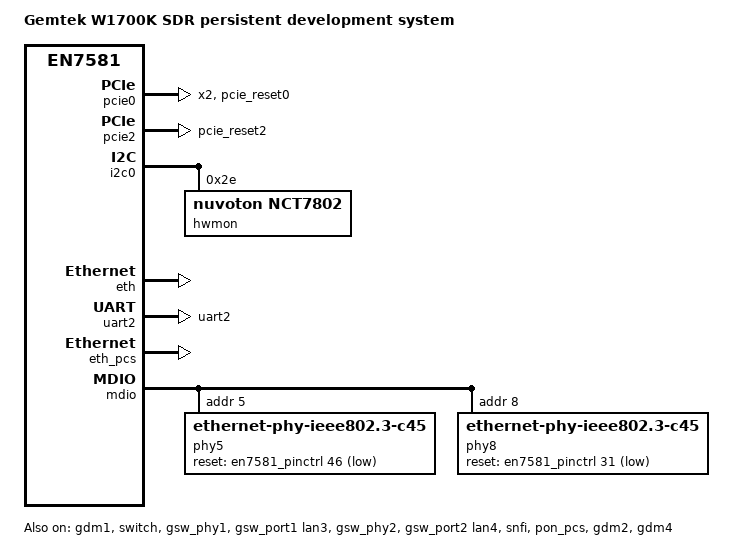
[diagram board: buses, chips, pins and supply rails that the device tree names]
// SPDX-License-Identifier: GPL-2.0-or-later OR MIT
/dts-v1/;

#include <dt-bindings/gpio/gpio.h>
#include <dt-bindings/phy/phy.h>
#include "an7581.dtsi"

/delete-node/ &sound;
/delete-node/ &afe;
/* A fixed clock is not an MMIO child of the SoC bus; it moves to the root below. */
/delete-node/ &i2cclock;

/* Board wiring from OpenWrt's an7581-w1700k-ubi.dts, without its Wi-Fi
 * offload. The two 10 GbE ports carry the IQ export.
 */
/ {
	model = "Gemtek W1700K SDR persistent development system";
	compatible = "gemtek,w1700k-sdr", "airoha,an7581", "airoha,en7581";

	aliases {
		serial0 = &uart1;
		ethernet0 = &gdm1;
	};

	chosen {
		bootargs = "console=ttyS0,115200 earlycon panic=5 ro rdinit=/init ubi.mtd=system ubi.block=0,rootfs";
		stdout-path = "serial0:115200n8";
	};

	i2cclock: clock-i2c {
		compatible = "fixed-clock";
		#clock-cells = <0>;
		clock-frequency = <20000000>;
	};

	/* The bootloader supplies detected DRAM and initrd addresses. */
};

&en7581_pinctrl {
	gpio-ranges = <&en7581_pinctrl 0 13 50>;

	uart2_pins: uart2-pins {
		mux {
			function = "uart";
			groups = "uart2";
		};
	};

	mdio_pins: mdio-pins {
		mux {
			function = "mdio";
			groups = "mdio";
		};
		conf {
			pins = "gpio2";
			output-high;
		};
	};

	pcie0_rst_pins: pcie0-rst-pins {
		conf {
			pins = "pcie_reset0";
			drive-open-drain = <1>;
		};
	};

	pcie2_rst_pins: pcie2-rst-pins {
		conf {
			pins = "pcie_reset2";
			drive-open-drain = <1>;
		};
	};
};

&pcie0 {
	status = "okay";
	reg = <0x0 0x1fc00000 0x0 0x1670>,
	      <0x0 0x1fc20000 0x0 0x1670>;
	reg-names = "pcie-mac", "sec-pcie-mac";
	resets = <&scuclk EN7581_PCIE0_RST>,
		 <&scuclk EN7581_PCIE1_RST>,
		 <&scuclk EN7581_PCIC_PERSTOUT0_RST>,
		 <&scuclk EN7581_PCIC_PERSTOUT1_RST>;
	reset-names = "phy-lane0", "phy-lane1", "perstout", "sec-perstout";
	num-lanes = <2>;
	airoha,scu = <&scuclk>;
	pinctrl-names = "default";
	pinctrl-0 = <&pcie0_rst_pins>;
	/* The MT7996 is found by PCI enumeration; its calibration is supplied
	 * by the host, not read from a factory partition here. */
};

&pcie1 {
	status = "disabled";
};

&pcie2 {
	status = "okay";
	pinctrl-names = "default";
	pinctrl-0 = <&pcie2_rst_pins>;
};

&i2c0 {
	status = "okay";
	hwmon@2e {
		compatible = "nuvoton,nct7802";
		reg = <0x2e>;
	};
};

&npu {
	status = "disabled";
};

&eth {
	status = "okay";
	/delete-property/ airoha,npu;
};

&gdm1 {
	status = "okay";
	/* With no MAC supplied, the driver generates a local unicast address. */
};

&switch {
	status = "okay";
	/delete-property/ #address-cells;
	/delete-property/ #size-cells;
	pinctrl-names = "default";
	pinctrl-0 = <&mdio_pins>;
};

&gsw_phy1 {
	status = "okay";
	interrupts = <1>;
};

&gsw_port1 {
	status = "okay";
	label = "lan3";
};

&gsw_phy2 {
	status = "okay";
	interrupts = <2>;
};

&gsw_port2 {
	status = "okay";
	label = "lan4";
};

/* The ATF, NPU firmware and QDMA reservations of the SoC include stay; the
 * Wi-Fi-only NPU pools are left out. Auxiliary UARTs stay disabled.
 */

/* The W1700K's low-power radio (an EFR32MG21) is on UART2. As built the port is disabled, so
 * that its pads stay plain GPIO and no program can open it; the loader enables it in the tree
 * it hands over, on a W1700K whose owner keeps the radio on (`efr32_give` in its environment).
 */
&uart2 {
	pinctrl-names = "default";
	pinctrl-0 = <&uart2_pins>;
};

/* So that the radio's port is /dev/ttyS1 wherever it is there, whatever else is enabled. */
/ {
	aliases {
		serial1 = &uart2;
	};
};
&snfi {
	status = "okay";
};

&spi_nand {
	partitions {
		compatible = "fixed-partitions";
		#address-cells = <1>;
		#size-cells = <1>;

		// >>> generated by platform/partitions.py; edit that, not this
		// Vendor-logical offsets; BBT shift + BMT substitution exactly once.
		bootloader@0 {
			label = "bootloader";
			reg = <0x00000000 0x00200000>;
			read-only;
		};

		uenv@200000 {
			label = "uenv";
			reg = <0x00200000 0x00200000>;
			read-only;
		};

		calibration@400000 {
			label = "calibration";
			reg = <0x00400000 0x00200000>;
			read-only;
		};

		loader@600000 {
			label = "loader";
			reg = <0x00600000 0x00040000>;
			read-only;
		};

		loader-b@640000 {
			label = "loader-b";
			reg = <0x00640000 0x000c0000>;
			read-only;
		};

		system@700000 {
			label = "system";
			reg = <0x00700000 0x02300000>;
			read-only;
		};

		durable@2a00000 {
			label = "durable";
			reg = <0x02a00000 0x01c00000>;
		};

		stock@4600000 {
			label = "stock";
			reg = <0x04600000 0x17800000>;
			read-only;
		};

		reserved-bmt@1be00000 {
			label = "reserved-bmt";
			reg = <0x1be00000 0x04200000>;
			read-only;
		};
		// <<< end generated partition table
	};
};

/* The two 10 GbE ports, wired as in OpenWrt: RTL8261N PHYs (W1700K) or
 * RTL8261CE PHYs (W1700K2) on the switch MDIO bus over USXGMII, polarity
 * inverted both ways on both. GDM2 is OpenWrt's wan (PHY 8), GDM4 its lan2
 * (PHY 5). The generic C45 compatible lets the kernel pick the driver by the
 * PHY's ID; each needs its firmware file (rtl8261n.bin, rtl_nic/rtl8261c.bin),
 * both of which the kernel has built in.
 */
&pon_pcs {
	status = "okay";
};

&eth_pcs {
	status = "okay";
};

&gdm2 {
	status = "okay";
	managed = "in-band-status";
	phy-handle = <&phy8>;
	phy-mode = "usxgmii";
};

&gdm4 {
	status = "okay";
	managed = "in-band-status";
	phy-handle = <&phy5>;
	phy-mode = "usxgmii";
};

&mdio {
	phy5: ethernet-phy@5 {
		compatible = "ethernet-phy-ieee802.3-c45";
		reg = <5>;
		reset-gpios = <&en7581_pinctrl 46 GPIO_ACTIVE_LOW>;
		reset-assert-us = <200000>;
		reset-deassert-us = <200000>;
		tx-polarity = <PHY_POL_INVERT>;
		rx-polarity = <PHY_POL_INVERT>;
	};

	phy8: ethernet-phy@8 {
		compatible = "ethernet-phy-ieee802.3-c45";
		reg = <8>;
		reset-gpios = <&en7581_pinctrl 31 GPIO_ACTIVE_LOW>;
		reset-assert-us = <200000>;
		reset-deassert-us = <200000>;
		tx-polarity = <PHY_POL_INVERT>;
		rx-polarity = <PHY_POL_INVERT>;
	};
};
